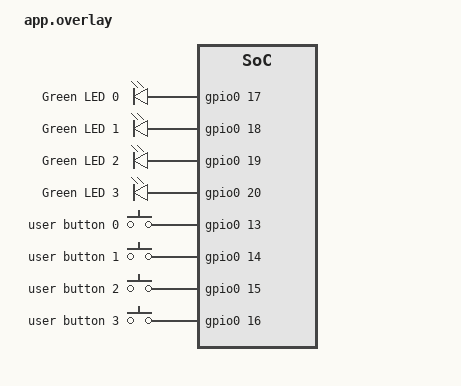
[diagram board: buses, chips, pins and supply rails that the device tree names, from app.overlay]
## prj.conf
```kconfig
# For more information, refer to 
# https://docs.zephyrproject.org/3.0.0/reference/kconfig/index-all.html

#Enabled the LOG RTT terminal
CONFIG_LOG=y
CONFIG_USE_SEGGER_RTT=y
CONFIG_LOG_BACKEND_RTT=y
CONFIG_LOG_BACKEND_UART=n
CONFIG_LOG_PRINTK=y
CONFIG_PRINTK=y

# Enabled the asser macro for debugging and error handling
CONFIG_ASSERT=y
  
```

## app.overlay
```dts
/{

  outputs
  {
    compatible = "gpio-leds";
    led0 {
        gpios = < &gpio0 17 GPIO_ACTIVE_HIGH>;
        label = "Green LED 0";
    };
    led1 {
      gpios = < &gpio0 18 GPIO_ACTIVE_HIGH>;
      label = "Green LED 1";
    };
    led2 {
      gpios = < &gpio0 19 GPIO_ACTIVE_HIGH>;
      label = "Green LED 2";
    };
  
    led3 {
      gpios = < &gpio0 20 GPIO_ACTIVE_HIGH>;
      label = "Green LED 3";
    };
  };

  inputs
  {
    compatible = "gpio-keys";
    button0 {
      gpios = <&gpio0 13 GPIO_PULL_UP>;
      label = "user button 0";
    };
  
    button1 {
      gpios = <&gpio0 14 GPIO_PULL_UP>;
      label = "user button 1";
    };
  
    button2 {
      gpios = <&gpio0 15 GPIO_PULL_UP>;
      label = "user button 2";
    };
  
    button3 {
      gpios = <&gpio0 16 GPIO_PULL_UP>;
      label = "user button 3";
    };
  };



  aliases {
    // User leds
    led0=&led0;
    led1=&led1;
    led2=&led2;
    led3=&led3;
    // User buttons
    button0=&button0;
    button1=&button1;
    button2=&button2;
    button3=&button3;
  };

};
```

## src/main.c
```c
/*
 * Copyright (c) 2012-2014 Wind River Systems, Inc.
 *
 * SPDX-License-Identifier: Apache-2.0
 */

#include <zephyr/zephyr.h>
#include <drivers/gpio.h>

/* BTN Nodes */
#define BTN0_NODE		DT_ALIAS(button0)
#define BTN1_NODE		DT_ALIAS(button1)
#define BTN2_NODE		DT_ALIAS(button2)
#define BTN3_NODE		DT_ALIAS(button3)

/* LED Nodes */
#define LED0_NODE 	DT_ALIAS(led0)
#define LED1_NODE 	DT_ALIAS(led1)
#define LED2_NODE 	DT_ALIAS(led2)
#define LED3_NODE 	DT_ALIAS(led3)

/* User LED device structures */
static const struct gpio_dt_spec led1 = GPIO_DT_SPEC_GET(LED0_NODE, gpios);
static const struct gpio_dt_spec led2 = GPIO_DT_SPEC_GET(LED1_NODE, gpios);
static const struct gpio_dt_spec led3 = GPIO_DT_SPEC_GET(LED2_NODE, gpios);
static const struct gpio_dt_spec led4 = GPIO_DT_SPEC_GET(LED3_NODE, gpios);

/* User buttons device structures  */
static const struct gpio_dt_spec btn1 = GPIO_DT_SPEC_GET(BTN0_NODE, gpios);
static const struct gpio_dt_spec btn2 = GPIO_DT_SPEC_GET(BTN1_NODE, gpios);
static const struct gpio_dt_spec btn3 = GPIO_DT_SPEC_GET(BTN2_NODE, gpios);
static const struct gpio_dt_spec btn4 = GPIO_DT_SPEC_GET(BTN3_NODE, gpios);

/* BTN0 & BTN1 callback data structure */
static struct gpio_callback btn3_cb_data;
static struct gpio_callback btn4_cb_data;

void btn3_callback_isr(const struct device *dev, struct gpio_callback *cb,
											 gpio_port_pins_t pins)
{
	static int button3State = 0;

	printk("button 3 falling edge ISR callback called\r\n");
	gpio_pin_toggle_dt(&led3);
	
	button3State = gpio_pin_get_dt(&btn3);
	printk("Button 3 state is %d\r\n", button3State);

}

void btn4_callback_isr(const struct device *dev, struct gpio_callback *cb,
											 gpio_port_pins_t pins)
{
	static int button4State = 0;

	printk("button 4 falling edge ISR callback called\r\n");
	gpio_pin_toggle_dt(&led4);

	button4State = gpio_pin_get_dt(&btn4);
	printk("Button 4 state is %d\r\n", button4State);
}

/**
 * @brief Function to intialize the user LEDs  
 * 
 * @return int 
 */
static int usr_led_init(void)
{
	int ret = 0;
	
	/* No sure if this is the better way... */
	device_is_ready(&led1);
	device_is_ready(&led2);
	device_is_ready(&led3);
	device_is_ready(&led4);

	/* Configure GPIO pins as single outputs */
	ret = gpio_pin_configure_dt(&led1,  GPIO_OUTPUT | GPIO_OUTPUT_LOW);
	ret |= gpio_pin_configure_dt(&led2, GPIO_OUTPUT | GPIO_OUTPUT_LOW);
	ret |= gpio_pin_configure_dt(&led3, GPIO_OUTPUT | GPIO_OUTPUT_LOW);
	ret |= gpio_pin_configure_dt(&led4, GPIO_OUTPUT | GPIO_OUTPUT_LOW);

	return ret;
}

/**
 * @brief Function to initialize the user buttons btn0 &btn1 as single input
 * and btn2 & btn3 with interrupt of falling and rising edge respetively 
 * 
 * @return int 
 */
static int user_btn_init(void)
{
	int ret = 0;

	/* No sure if this is the better way... */

	/* Configure GPIO pins as singles inputs without interrupt */
	ret = gpio_pin_configure_dt(&btn1,  GPIO_INPUT| GPIO_PULL_UP );
	ret |= gpio_pin_configure_dt(&btn2, GPIO_INPUT| GPIO_PULL_UP );
	ret |= gpio_pin_configure_dt(&btn3, GPIO_INPUT| GPIO_PULL_UP );
	ret |= gpio_pin_configure_dt(&btn4, GPIO_INPUT| GPIO_PULL_UP );

	/* Configure GPIO pins as singles inputs with interrupt */
	ret |= gpio_pin_interrupt_configure_dt(&btn3, GPIO_INT_EDGE_FALLING);
	ret |= gpio_pin_interrupt_configure_dt(&btn4, GPIO_INT_EDGE_RISING);

	/* btn0 and btn1 Callback initialization  */
	gpio_init_callback(&btn3_cb_data, btn3_callback_isr, BIT(btn3.pin));
	gpio_init_callback(&btn4_cb_data, btn4_callback_isr, BIT(btn4.pin));

	/* Add the callback applications */
	ret |= gpio_add_callback(btn3.port, &btn3_cb_data);
	ret |= gpio_add_callback(btn4.port, &btn4_cb_data);

	return ret;
}

void main(void)
{
	/* Configure the user leds */
	if(usr_led_init())
	{
		return;	//Error
	}

	/* Configure the user buttons */
	if(user_btn_init())
	{
		return; //Error
	}

	/* Main loop program */
	int btn1State = 0;
	int btn2State = 0;
	int loopCounter = 0;

	printk("************************\r\n");
	printk("Press button 1 to turn on LED 1\r\n");
	printk("Press button 2 to turn on LED 2\r\n");
	printk("Press button 3 to toogle LED 3 \r\n");
	printk("Press button 4 to toogle LED 4 \r\n");

	while(1)
	{

		btn1State = gpio_pin_get_dt(&btn1);
		btn2State = gpio_pin_get_dt(&btn2);

		gpio_pin_set_dt(&led1, btn1State);
		gpio_pin_set_dt(&led2, btn2State);

		// printk("Button 1 state is %d\r\n", btn1State);
		// printk("Button 2 state is %d\r\n", btn2State);

		loopCounter++;
		k_msleep(100);
	}
}
```
